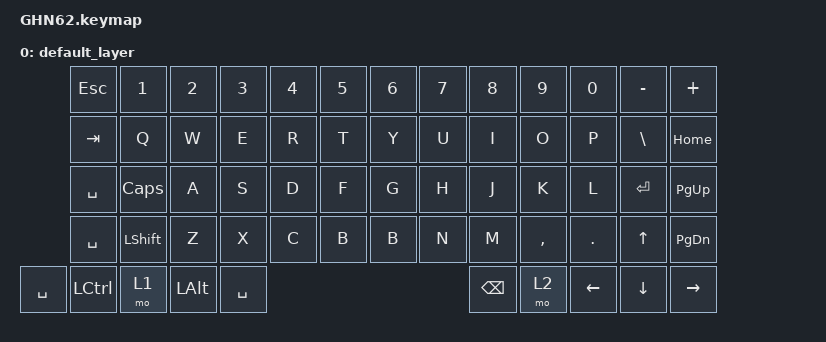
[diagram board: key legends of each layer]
#include <behaviors.dtsi>
#include <dt-bindings/zmk/keys.h>

/ {
    keymap {
        compatible = "zmk,keymap";

        default_layer {
            bindings = <
            &kp ESC    &kp N1  &kp N2   &kp N3  &kp N4  &kp N5  &kp N6      &kp N7    &kp N8     &kp N9          &kp N0     &kp MINUS     &kp PLUS
            &kp TAB    &kp Q   &kp W    &kp E   &kp R   &kp T   &kp Y       &kp U     &kp I      &kp O           &kp P      &kp BACKSLASH &kp HOME
&kp SPACE   &kp CAPS   &kp A   &kp S    &kp D   &kp F   &kp G   &kp H       &kp J     &kp K      &kp L                      &kp ENTER     &kp PAGE_UP
&kp SPACE   &kp LSHFT  &kp Z   &kp X    &kp C   &kp B   &kp B   &kp N       &kp M     &kp COMMA  &kp DOT                    &kp UP        &kp PAGE_DOWN
&kp SPACE   &kp LCTRL  &mo 1   &kp LALT &kp SPACE               &kp BSPC              &mo 2                      &kp LEFT   &kp DOWN      &kp RIGHT
            >;
        };
    };
};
